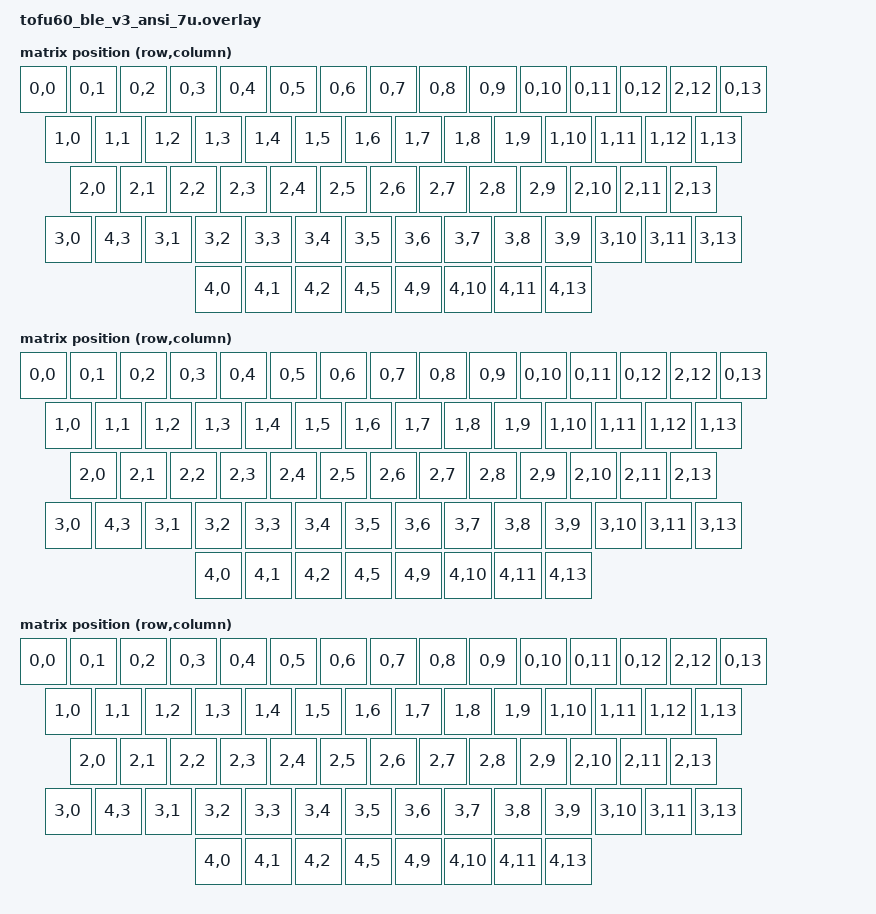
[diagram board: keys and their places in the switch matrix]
#include <dt-bindings/zmk/matrix_transform.h>
#include <physical_layouts.dtsi>
#include "common.overlay"

#define _RC(x, y)
#define N(x) (63-x)

/ {

    matrix_transform_2: matrix_transform_2 {
        compatible = "zmk,matrix-transform";
        rows = <5>; columns = <14>;
        map = <
RC(0,0) RC(0,1) RC(0,2) RC(0,3) RC(0,4) RC(0,5) RC(0,6) RC(0,7) RC(0,8) RC(0,9) RC(0,10) RC(0,11) RC(0,12) _RC(2,12) RC(0,13)
RC(1,0)   RC(1,1) RC(1,2) RC(1,3) RC(1,4) RC(1,5) RC(1,6) RC(1,7) RC(1,8) RC(1,9) RC(1,10) RC(1,11) RC(1,12)   RC(1,13)
RC(2,0)     RC(2,1) RC(2,2) RC(2,3) RC(2,4) RC(2,5) RC(2,6) RC(2,7) RC(2,8) RC(2,9) RC(2,10) RC(2,11)        RC(2,13)
RC(3,0)   _RC(4,3)   RC(3,1) RC(3,2) RC(3,3) RC(3,4) RC(3,5) RC(3,6) RC(3,7) RC(3,8) RC(3,9)    RC(3,10)      RC(3,11) RC(3,13)
RC(4,0)   RC(4,1)   RC(4,2)                      RC(4,5)                           _RC(4,9)    RC(4,10)   RC(4,11)   RC(4,13)
        >;
    };

    layout2: layout2 {
        compatible = "zmk,physical-layout";
        display-name = "ANSI(7U)_BS(2U)_RSFT(1.75U)";
        transform = <&matrix_transform_2>;

        keys =    ROW0_FIXED , ROW0_BS_2U
                , ROW1_FIXED , ROW1_ANSI
                , ROW2_FIXED , ROW2_ANSI //Enter
                , ROW3_ANSI  , ROW3_FIXED , ROW3_RSFT_175U
                , SPC_7U;
    };

    matrix_transform_0: matrix_transform_0 {
        compatible = "zmk,matrix-transform";
        rows = <5>; columns = <14>;
        map = <
RC(0,0) RC(0,1) RC(0,2) RC(0,3) RC(0,4) RC(0,5) RC(0,6) RC(0,7) RC(0,8) RC(0,9) RC(0,10) RC(0,11) RC(0,12) _RC(2,12) RC(0,13)
RC(1,0)   RC(1,1) RC(1,2) RC(1,3) RC(1,4) RC(1,5) RC(1,6) RC(1,7) RC(1,8) RC(1,9) RC(1,10) RC(1,11) RC(1,12)   RC(1,13)
RC(2,0)     RC(2,1) RC(2,2) RC(2,3) RC(2,4) RC(2,5) RC(2,6) RC(2,7) RC(2,8) RC(2,9) RC(2,10) RC(2,11)        RC(2,13)
RC(3,0)   _RC(4,3)   RC(3,1) RC(3,2) RC(3,3) RC(3,4) RC(3,5) RC(3,6) RC(3,7) RC(3,8) RC(3,9)    RC(3,10)      RC(3,11) _RC(3,13)
RC(4,0)   RC(4,1)   RC(4,2)                      RC(4,5)                           _RC(4,9)    RC(4,10)   RC(4,11)   RC(4,13)
        >;
    };

    layout0: layout0 {
        compatible = "zmk,physical-layout";
        display-name = "ANSI(7U)_BS(2U)_RSFT(2.75U)";
        transform = <&matrix_transform_0>;

        keys =    ROW0_FIXED , ROW0_BS_2U
                , ROW1_FIXED , ROW1_ANSI
                , ROW2_FIXED , ROW2_ANSI //Enter
                , ROW3_ANSI  , ROW3_FIXED , ROW3_RSFT_275U
                , SPC_7U;
    };

    matrix_transform_1: matrix_transform_1 {
        compatible = "zmk,matrix-transform";
        rows = <5>; columns = <14>;
        map = <
RC(0,0) RC(0,1) RC(0,2) RC(0,3) RC(0,4) RC(0,5) RC(0,6) RC(0,7) RC(0,8) RC(0,9) RC(0,10) RC(0,11) RC(0,12) RC(2,12) RC(0,13)
RC(1,0)   RC(1,1) RC(1,2) RC(1,3) RC(1,4) RC(1,5) RC(1,6) RC(1,7) RC(1,8) RC(1,9) RC(1,10) RC(1,11) RC(1,12)   RC(1,13)
RC(2,0)     RC(2,1) RC(2,2) RC(2,3) RC(2,4) RC(2,5) RC(2,6) RC(2,7) RC(2,8) RC(2,9) RC(2,10) RC(2,11)        RC(2,13)
RC(3,0)   _RC(4,3)   RC(3,1) RC(3,2) RC(3,3) RC(3,4) RC(3,5) RC(3,6) RC(3,7) RC(3,8) RC(3,9)    RC(3,10)      RC(3,11) _RC(3,13)
RC(4,0)   RC(4,1)   RC(4,2)                      RC(4,5)                           _RC(4,9)    RC(4,10)   RC(4,11)   RC(4,13)
        >;
    };

    layout1: layout1 {
        compatible = "zmk,physical-layout";
        display-name = "ANSI(7U)_BS(1U)_RSFT(2.75U)";
        transform = <&matrix_transform_1>;

        keys =    ROW0_FIXED , ROW0_BS_1U
                , ROW1_FIXED , ROW1_ANSI
                , ROW2_FIXED , ROW2_ANSI //Enter
                , ROW3_ANSI  , ROW3_FIXED , ROW3_RSFT_275U
                , SPC_7U;
    };

    matrix_transform_3: matrix_transform_3 {
        compatible = "zmk,matrix-transform";
        rows = <5>; columns = <14>;
        map = <
RC(0,0) RC(0,1) RC(0,2) RC(0,3) RC(0,4) RC(0,5) RC(0,6) RC(0,7) RC(0,8) RC(0,9) RC(0,10) RC(0,11) RC(0,12) RC(2,12) RC(0,13)
RC(1,0)   RC(1,1) RC(1,2) RC(1,3) RC(1,4) RC(1,5) RC(1,6) RC(1,7) RC(1,8) RC(1,9) RC(1,10) RC(1,11) RC(1,12)   RC(1,13)
RC(2,0)     RC(2,1) RC(2,2) RC(2,3) RC(2,4) RC(2,5) RC(2,6) RC(2,7) RC(2,8) RC(2,9) RC(2,10) RC(2,11)        RC(2,13)
RC(3,0)   _RC(4,3)   RC(3,1) RC(3,2) RC(3,3) RC(3,4) RC(3,5) RC(3,6) RC(3,7) RC(3,8) RC(3,9)    RC(3,10)      RC(3,11) RC(3,13)
RC(4,0)   RC(4,1)   RC(4,2)                      RC(4,5)                           _RC(4,9)    RC(4,10)   RC(4,11)   RC(4,13)
        >;
    };

    layout3: layout3 {
        compatible = "zmk,physical-layout";
        display-name = "ANSI(7U)_BS(1U)_RSFT(1.75U)";
        transform = <&matrix_transform_3>;

        keys =    ROW0_FIXED , ROW0_BS_1U
                , ROW1_FIXED , ROW1_ANSI
                , ROW2_FIXED , ROW2_ANSI //Enter
                , ROW3_ANSI  , ROW3_FIXED , ROW3_RSFT_175U
                , SPC_7U;
    };


    layouts_this_position_map {
        compatible = "zmk,physical-layout-position-map";
        complete;

        position_map_all: position_map_all {
            physical-layout = <&layout_all>;
            positions
                = < 0  1  2  3  4  5  6  7  8  9 10 11 12 13 14>
                , <15  16 17 18 19 20 21 22 23 24 25 26 27  28 >
                , <29   30 31 32 33 34 35 36 37 38 39 40   41  >
                , <42 43 44 45 46 47 48 49 50 51 52 53  54   55>
                , <56  57 58        59          60  61  62  63 >;
        };
        //ansi, bs: 2u, rshift: 2.75u
        position_map0: position_map0 {
            physical-layout = <&layout0>;
            positions
                = < 0  1  2  3  4  5  6  7  8  9 10 11 12 N(0) 13>
                , <14  15 16 17 18 19 20 21 22 23 24 25 26 27  >
                , <28   29 30 31 32 33 34 35 36 37 38 39  40   >
                , <41 N(1) 42 43 44 45 46 47 48 49 50 51   52  N(2)>
                , <53  54  55        56         N(3)  57  58  59 >;
        };
        //ansi, bs: 1u, rshift: 2.75u
        position_map1: position_map1 {
            physical-layout = <&layout1>;
            positions
                = < 0  1  2  3  4  5  6  7  8  9 10 11 12 13 14>
                , <15  16 17 18 19 20 21 22 23 24 25 26 27  28 >
                , <29   30 31 32 33 34 35 36 37 38 39 40  41   >
                , <42 N(0) 43 44 45 46 47 48 49 50 51 52   53  N(1)>
                , <54  55  56        57         N(2)  58  59  60 >;
        };
        //ansi, bs: 2u, rshift: 1.75u
        position_map2: position_map2 {
            physical-layout = <&layout2>;
            positions
                = < 0  1  2  3  4  5  6  7  8  9 10 11 12 N(0) 13>
                , <14  15 16 17 18 19 20 21 22 23 24 25 26 27  >
                , <28   29 30 31 32 33 34 35 36 37 38 39  40   >
                , <41 N(1) 42 43 44 45 46 47 48 49 50 51   52  53>
                , <54  55  56        57         N(2)  58  59  60 >;
        };
        //ansi, bs: 1u, rshift: 1.75u
        position_map3: position_map3 {
            physical-layout = <&layout3>;
            positions
                = < 0  1  2  3  4  5  6  7  8  9 10 11 12 13 14>
                , <15  16 17 18 19 20 21 22 23 24 25 26 27  28 >
                , <29   30 31 32 33 34 35 36 37 38 39 40  41   >
                , <42 N(0) 43 44 45 46 47 48 49 50 51 52   53  54>
                , <55  56  57        58         N(1)  59  60  61 >;
        };
    };
};
